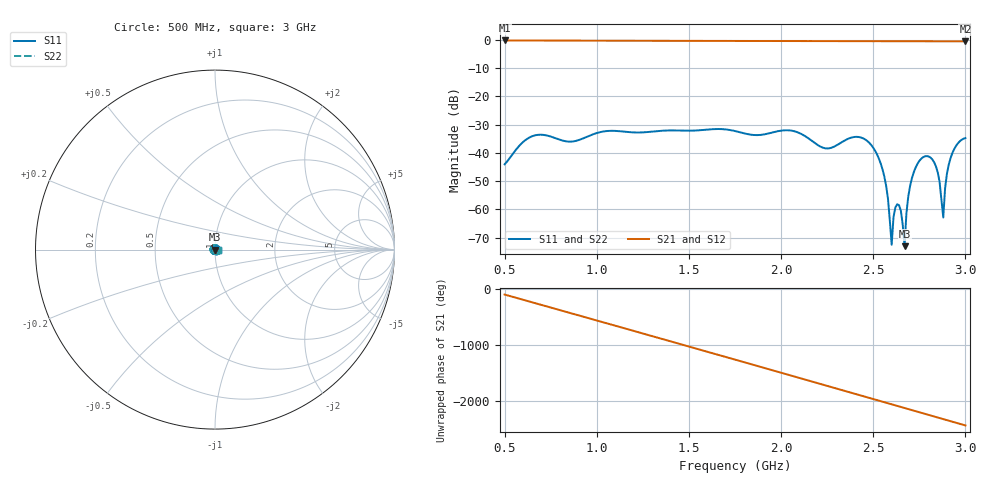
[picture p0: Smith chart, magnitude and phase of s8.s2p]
!freq-unit  param-type  data-format  keyword  impedance-ohms
# GHZ  S  RI  R  50
!Freq  ReS11  ImS11  ReS21  ImS21  ReS12  ImS12  ReS22  ImS22
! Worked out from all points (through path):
!   251 points, 500 MHz to 3 GHz, reference 50 ohm
!   highest |S21| = -0.14 dB at 500 MHz (marker M1); lowest = -0.5 dB at 3 GHz (marker M2)
!   group delay of S21, straight-line fit = 2.59 ns
!   lowest |S11| = -73.1 dB at 2.67 GHz (marker M3), VSWR 1.00, Z = 50 + j0.0189 ohm
!   |S11| at or under -10 dB: start of sweep to end of sweep
!   |S22| runs from -73.1 to -31.5 dB; largest |S21 - S12| = 0
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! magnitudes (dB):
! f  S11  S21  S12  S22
! 500 MHz  -44.0  -0.1  -0.1  -44.0
! 660 MHz  -33.9  -0.2  -0.2  -33.9
! 920 MHz  -35.0  -0.2  -0.2  -35.0
! 1.34 GHz  -32.2  -0.3  -0.3  -32.2
! 1.75 GHz  -32.2  -0.3  -0.3  -32.2
! 2.17 GHz  -35.9  -0.4  -0.4  -35.9
! 2.48 GHz  -36.5  -0.4  -0.4  -36.5
! 2.55 GHz  -45.7  -0.4  -0.4  -45.7
! 2.57 GHz  -51.6  -0.4  -0.4  -51.6
! 2.59 GHz  -64.0  -0.4  -0.4  -64.0
! 2.6 GHz  -72.6  -0.4  -0.4  -72.6
! 2.61 GHz  -62.8  -0.4  -0.4  -62.8
! 2.64 GHz  -58.6  -0.4  -0.4  -58.6
! 2.67 GHz  -73.1  -0.4  -0.4  -73.1
! 2.69 GHz  -55.5  -0.4  -0.4  -55.5
! 2.74 GHz  -43.9  -0.4  -0.4  -43.9
! 2.83 GHz  -43.3  -0.4  -0.4  -43.3
! 2.86 GHz  -50.3  -0.4  -0.4  -50.3
! 2.88 GHz  -62.9  -0.4  -0.4  -62.9
! 2.89 GHz  -52.4  -0.4  -0.4  -52.4
! 2.91 GHz  -44.1  -0.4  -0.4  -44.1
! 3 GHz  -34.7  -0.5  -0.5  -34.7
